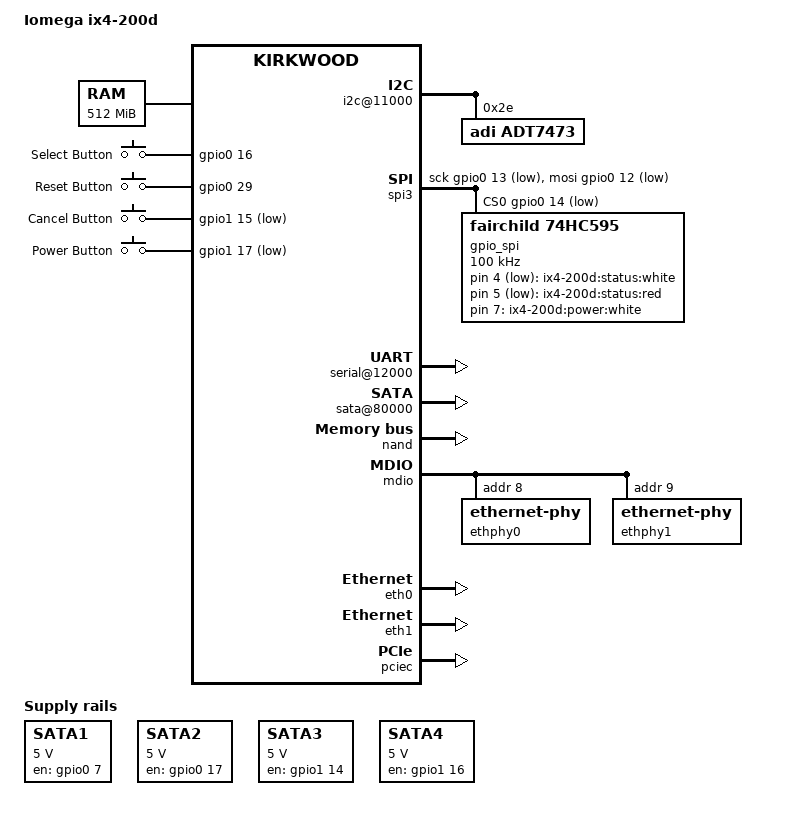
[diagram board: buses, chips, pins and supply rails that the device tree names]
/*
 *  Device tree file for the Iomega ix4-200d
 *
 * Copyright (c) 2016, bodhi <mibodhi at gmail.com>
 * Copyright (c) 2015, DaMacc
 * Additions by Jeremy J. Peper
 *
*/

/dts-v1/;

#include <dt-bindings/input/input.h>
#include <dt-bindings/gpio/gpio.h>
#include "kirkwood.dtsi"      
#include "kirkwood-6281.dtsi" 

/ {
	model = "Iomega ix4-200d";
	compatible = "marvell,rd88f6281-a", "marvell,rd88f6281", "marvell,kirkwood-88f6281", "marvell,kirkwood";

	memory {				    
		device_type = "memory";	     
		reg = <0x00000000 0x20000000>;      
	};					  
					    
	chosen {				    
		bootargs = "console=ttyS0,115200n8 earlyprintk";
		stdout-path = &uart0;	       
	};					  
					    
	ocp@f1000000 {
		pinctrl: pin-controller@10000
		{
			hdd_pwr1: hdd-pwr1
                        {
                                marvell,pins = "mpp7";
                                marvell,function = "gpo";
                        };

			spi_pin1: spi-pin1
			{
				marvell,pins = "mpp12";
				marvell,function = "gpio";
			};

			spi_pin2: spi-pin2
			{
				marvell,pins = "mpp13";
				marvell,function = "gpio";
			};

			spi_pin3: spi-pin3
			{
				marvell,pins = "mpp14";
				marvell,function = "gpio";
			};

			select_button_pin: select-button-pin
			{
				marvell,pins = "mpp16";
				marvell,function = "gpio";
			};

			hdd_pwr2: hdd-pwr2
                        {
                                marvell,pins = "mpp17";
                                marvell,function = "gpio";
                        };

			reset_button_pin: reset-button-pin
			{
				marvell,pins = "mpp29";
				marvell,function = "gpio";
			};

			hdd_pwr3: hdd-pwr3
                        {
                                marvell,pins = "mpp46";
                                marvell,function = "gpio";
                        };

			cancel_button_pin: cancel-button-pin
			{
				marvell,pins = "mpp47";
				marvell,function = "gpio";
			};

			hdd_pwr4: hdd-pwr4
                        {
                                marvell,pins = "mpp48";
                                marvell,function = "gpio";
                        };

			power_button_pin: power-button-pin
			{
				marvell,pins = "mpp49";
				marvell,function = "gpio";
			};
		};

		i2c@11000 {				
			status = "okay";		   
						   
			adt7473@2e {		       
				compatible = "adi,adt7473";
				reg = <0x2e>;	      
			};				 
		};

		spi3 {
			compatible = "spi-gpio";
			status = "okay";
			gpio-sck = <&gpio0 13 GPIO_ACTIVE_LOW>;
			gpio-mosi = <&gpio0 12 GPIO_ACTIVE_LOW>;
			cs-gpios = <&gpio0 14 GPIO_ACTIVE_LOW>;
			num-chipselects = <1>;
			#address-cells = <1>;
			#size-cells = <0>;

			gpio_spi: gpio_spi@0 {
				compatible = "fairchild,74hc595";
				gpio-controller;
				#gpio-cells = <2>;
				reg = <0>;
				registers-number = <1>;
				spi-max-frequency = <100000>;
			};
		};			   


		gpio-leds {
			compatible = "gpio-leds";

			status-white {
				label = "ix4-200d:status:white";
				gpios = <&gpio_spi 4 GPIO_ACTIVE_LOW>;
				default-state = "off";
			};

			status-red {
				label = "ix4-200d:status:red";
				gpios = <&gpio_spi 5 GPIO_ACTIVE_LOW>;
				default-state = "off";
			};

			power-led {
				label = "ix4-200d:power:white";
				gpios = <&gpio_spi 7 GPIO_ACTIVE_HIGH>;
				default-state = "on";
			};
		};

		gpio-keys {
			compatible = "gpio-keys";
			pinctrl-0 = <&power_button_pin &select_button_pin &cancel_button_pin &reset_button_pin>;
			pinctrl-names = "default";

			select-button {
				label = "Select Button";
				linux,code = <KEY_OPTION>;
				gpios = <&gpio0 16 GPIO_ACTIVE_HIGH>;
			};

			reset-button {
				label = "Reset Button";
				linux,code = <KEY_PROG1>;
				gpios = <&gpio0 29 GPIO_ACTIVE_HIGH>;
			};

			cancel-button {
				label = "Cancel Button";
				linux,code = <KEY_PROG2>;
				gpios = <&gpio1 15 GPIO_ACTIVE_LOW>;
			};

			power-button {
				label = "Power Button";
				linux,code = <KEY_ESC>;
				gpios = <&gpio1 17 GPIO_ACTIVE_LOW>;
			};
		};
	
		serial@12000 {			       
			status = "ok";		       
		};					   
						     
		sata@80000 {				 
			status = "okay";
			nr-ports = <1>;		      
		};					
	};
	
	regulators
        {
                compatible = "simple-bus";
                #address-cells = <1>;
                #size-cells = <0>;
                pinctrl-0 = <&hdd_pwr1 &hdd_pwr2 &hdd_pwr3 &hdd_pwr4>;
                pinctrl-names = "default";

                regulator@0
                {
                        compatible = "regulator-fixed";
                        reg = <0>;
                        regulator-name = "SATA1";
                        regulator-min-microvolt = <5000000>;
                        regulator-max-microvolt = <5000000>;
                        enable-active-high;
                        regulator-always-on;
                        regulator-boot-on;
                        gpio = <&gpio0 7 GPIO_ACTIVE_HIGH>;
                };

		regulator@1
                {
                        compatible = "regulator-fixed";
                        reg = <1>;
                        regulator-name = "SATA2";
                        regulator-min-microvolt = <5000000>;
                        regulator-max-microvolt = <5000000>;
                        enable-active-high;
                        regulator-always-on;
                        regulator-boot-on;
                        gpio = <&gpio0 17 GPIO_ACTIVE_HIGH>;
                };

		regulator@2
                {
                        compatible = "regulator-fixed";
                        reg = <2>;
                        regulator-name = "SATA3";
                        regulator-min-microvolt = <5000000>;
                        regulator-max-microvolt = <5000000>;
                        enable-active-high;
                        regulator-always-on;
                        regulator-boot-on;
                        gpio = <&gpio1 14 GPIO_ACTIVE_HIGH>;
                };

		regulator@3
                {
                        compatible = "regulator-fixed";
                        reg = <3>;
                        regulator-name = "SATA4";
                        regulator-min-microvolt = <5000000>;
                        regulator-max-microvolt = <5000000>;
                        enable-active-high;
                        regulator-always-on;
                        regulator-boot-on;
                        gpio = <&gpio1 16 GPIO_ACTIVE_HIGH>;
                };
	};
};

&nand {
	chip-delay = <40>;
	status = "okay";

	partition@0 {
		label = "u-boot";
		reg = <0x00000000 0x000a0000>;
		read-only;
	};

	partition@a0000 {
		label = "env";
		reg = <0x000a0000 0x00010000>;
		read-only;
	};

	partition@b0000 {
		label = "zImage";
		reg = <0x000b0000 0x00228000>;
		read-only;
	};

	partition@2d8000 {
		label = "initrd";
		reg = <0x002d8000 0x00300000>;
		read-only;
	};

	partition@5d8000 {
                label = "unused";
                reg = <0x005d8000 0x01a28000>;
                read-only;
        };
};

&mdio {
	status = "okay";

	ethphy0: ethernet-phy@8 {
		device_type = "ethernet-phy";
		reg = <8>;
	};

	ethphy1: ethernet-phy@9 {
		device_type = "ethernet-phy";
		reg = <9>;
	};
};

&eth0 {
	status = "okay";
	ethernet0-port@0 {
		phy-handle = <&ethphy0>;
	};
};

&eth1 {
	status = "okay";
	ethernet1-port@0 {
		phy-handle = <&ethphy1>;
	};
};

&pciec {
	status = "okay";
};

//&pcie0 {
//	status = "okay";
//};


